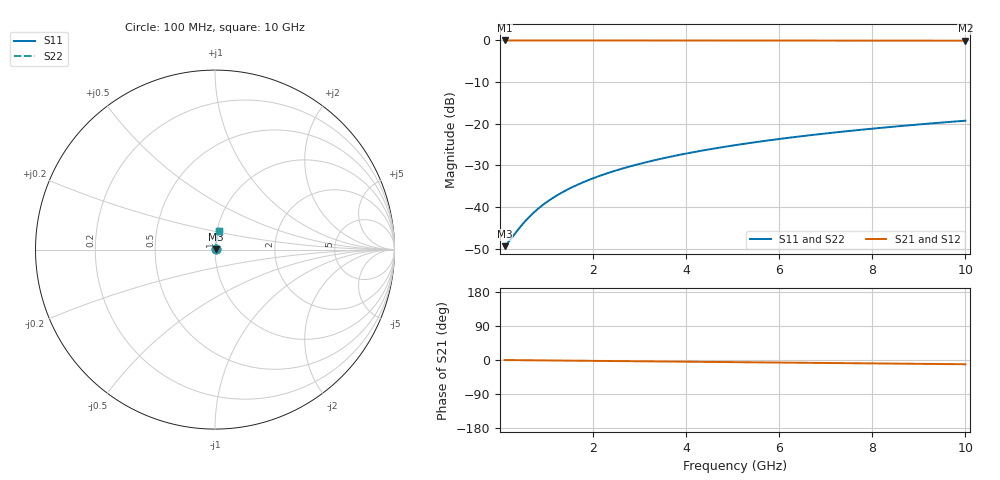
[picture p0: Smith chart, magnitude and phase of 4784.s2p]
# Hz S RI R 50.00
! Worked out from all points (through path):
!   100 points, 100 MHz to 10 GHz, reference 50 ohm
!   highest |S21| = -0.03 dB at 100 MHz (marker M1); lowest = -0.1 dB at 10 GHz (marker M2)
!   group delay of S21, straight-line fit = 3.11 ps
!   lowest |S11| = -49.4 dB at 100 MHz (marker M3), VSWR 1.01, Z = 50.3 + j0.11 ohm
!   |S11| at or under -10 dB: start of sweep to end of sweep
!   |S22| runs from -49.4 to -19.3 dB; largest |S21 - S12| = 0
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1e8  0.00322 0.00109  0.9968 -0.00195  0.9968 -0.00195  0.00322 0.00109
2e8  0.00325 0.00218  0.9967 -0.0039  0.9967 -0.0039  0.00325 0.00218
4e8  0.0033 0.00435  0.9967 -0.0078  0.9967 -0.0078  0.0033 0.00435
5e8  0.00333 0.00544  0.9967 -0.00976  0.9967 -0.00976  0.00333 0.00544
6e8  0.00336 0.00653  0.9966 -0.0117  0.9966 -0.0117  0.00336 0.00653
7e8  0.0034 0.00762  0.9966 -0.0137  0.9966 -0.0137  0.0034 0.00762
9e8  0.00348 0.00979  0.9965 -0.0176  0.9965 -0.0176  0.00348 0.00979
1.1e9  0.00358 0.012  0.9964 -0.0215  0.9964 -0.0215  0.00358 0.012
1.3e9  0.00369 0.0141  0.9962 -0.0254  0.9962 -0.0254  0.00369 0.0141
1.5e9  0.00382 0.0163  0.9961 -0.0293  0.9961 -0.0293  0.00382 0.0163
1.8e9  0.00405 0.0196  0.9958 -0.0351  0.9958 -0.0351  0.00405 0.0196
2.1e9  0.00431 0.0228  0.9955 -0.0409  0.9955 -0.0409  0.00431 0.0228
2.5e9  0.00472 0.0272  0.995 -0.0487  0.995 -0.0487  0.00472 0.0272
2.9e9  0.00519 0.0315  0.9945 -0.0565  0.9945 -0.0565  0.00519 0.0315
3.4e9  0.00588 0.0369  0.9937 -0.0662  0.9937 -0.0662  0.00588 0.0369
4.2e9  0.00719 0.0455  0.9921 -0.0818  0.9921 -0.0818  0.00719 0.0455
5.1e9  0.00899 0.0551  0.99 -0.0992  0.99 -0.0992  0.00899 0.0551
5.9e9  0.0109 0.0636  0.9878 -0.1146  0.9878 -0.1146  0.0109 0.0636
6.7e9  0.013 0.072  0.9852 -0.13  0.9852 -0.13  0.013 0.072
7.5e9  0.0154 0.0803  0.9824 -0.1453  0.9824 -0.1453  0.0154 0.0803
8.4e9  0.0184 0.0896  0.9788 -0.1624  0.9788 -0.1624  0.0184 0.0896
1e10  0.0246 0.1059  0.9715 -0.1926  0.9715 -0.1926  0.0246 0.1059
